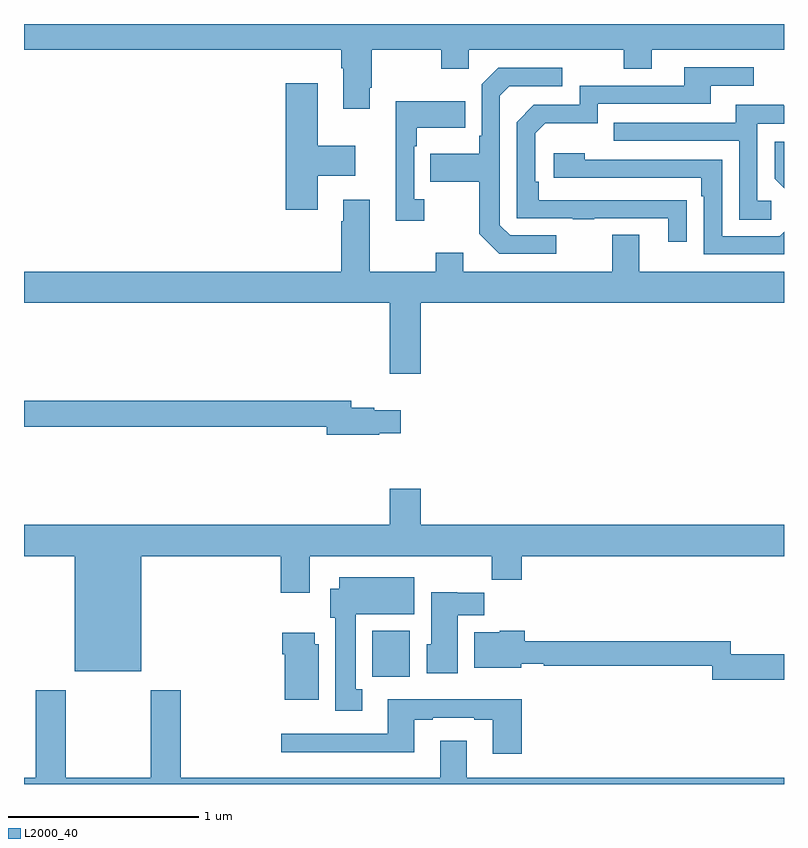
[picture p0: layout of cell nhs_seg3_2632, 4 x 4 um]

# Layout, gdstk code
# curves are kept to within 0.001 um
import gdstk
lib = gdstk.Library(unit=1e-6, precision=1e-09)
def R(c, l, rs):  # rectangles x0, y0, x1, y1
    for r in rs: c.add(gdstk.rectangle(r[:2], r[2:], *l))
def P(c, l, *ps):  # polygons
    for p in ps: c.add(gdstk.Polygon(p, *l))
L2000_40 = (2000, 40)

nhs_seg3_2632 = lib.new_cell('nhs_seg3_2632')
R(nhs_seg3_2632, L2000_40, [(248.834,682.964,249.031,683.206)])
P(nhs_seg3_2632, L2000_40, [(248.821,686.065),(248.829,686.065),(248.829,686.264),(249.196,686.264),(249.196,686.165),(249.342,686.165),(249.342,686.264),(250.156,686.264),(250.156,686.165),(250.303,686.165),(250.303,686.264),(251,686.264),(251,686.4),(247,686.4),(247,686.264),(248.669,686.264),(248.669,686.168),(248.681,686.168),(248.681,685.953),(248.821,685.953)],
  [(250.487,685.472),(249.71,685.473),(249.71,685.57),(249.69,685.57),(249.69,685.824),(249.743,685.877),(250.02,685.877),(250.02,685.98),(250.615,685.98),(250.615,686.076),(250.84,686.076),(250.84,686.172),(250.475,686.172),(250.475,686.076),(249.924,686.076),(249.924,685.974),(249.684,685.974),(249.594,685.884),(249.594,685.377),(249.889,685.377),(249.889,685.372),(250.001,685.372),(250.001,685.377),(250.391,685.377),(250.391,685.254),(250.487,685.254)],
  [(249.802,685.287),(249.558,685.287),(249.504,685.341),(249.504,686.022),(249.555,686.073),(249.832,686.073),(249.832,686.169),(249.495,686.169),(249.408,686.082),(249.408,685.813),(249.396,685.813),(249.396,685.717),(249.139,685.717),(249.139,685.57),(249.396,685.57),(249.396,685.297),(249.501,685.191),(249.802,685.191)],
  [(248.545,685.601),(248.743,685.601),(248.743,685.759),(248.545,685.759),(248.545,686.089),(248.378,686.089),(248.378,685.422),(248.545,685.422)],
  [(249.106,685.478),(249.054,685.478),(249.054,685.757),(249.067,685.757),(249.067,685.853),(249.323,685.853),(249.323,685.993),(248.957,685.993),(248.957,685.365),(249.106,685.365)],
  [(250.933,685.47),(250.86,685.47),(250.86,685.875),(251,685.875),(251,685.971),(250.999,685.971),(250.999,685.975),(250.745,685.975),(250.745,685.881),(250.105,685.881),(250.105,685.785),(250.764,685.785),(250.764,685.369),(250.933,685.369)],
  [(251,685.78),(250.95,685.78),(250.95,685.586),(251,685.536)],
  [(251,685.307),(250.977,685.284),(250.674,685.284),(250.674,685.686),(249.95,685.686),(249.95,685.72),(249.789,685.72),(249.789,685.59),(250.565,685.59),(250.565,685.493),(250.578,685.493),(250.578,685.188),(251,685.188)],
  [(249.088,684.932),(251,684.932),(251,685.096),(250.237,685.096),(250.237,685.291),(250.097,685.291),(250.097,685.096),(249.313,685.096),(249.313,685.195),(249.166,685.195),(249.166,685.096),(248.821,685.096),(248.821,685.474),(248.681,685.474),(248.681,685.361),(248.669,685.361),(248.669,685.096),(247,685.096),(247,684.932),(248.924,684.932),(248.924,684.558),(249.088,684.558)],
  [(248.87,684.245),(248.983,684.245),(248.983,684.367),(248.844,684.367),(248.844,684.38),(248.722,684.38),(248.722,684.416),(247,684.416),(247,684.28),(248.594,684.28),(248.594,684.238),(248.87,684.238)],
  [(247.618,683.6),(248.351,683.6),(248.351,683.406),(248.503,683.406),(248.503,683.6),(249.463,683.6),(249.463,683.476),(249.62,683.476),(249.62,683.6),(251,683.6),(251,683.764),(249.088,683.764),(249.088,683.953),(248.924,683.953),(248.924,683.764),(247,683.764),(247,683.6),(247.268,683.6),(247.268,682.994),(247.618,682.994)],
  [(248.779,682.898),(248.746,682.898),(248.746,683.294),(249.055,683.294),(249.055,683.488),(248.66,683.488),(248.66,683.428),(248.612,683.428),(248.612,683.274),(248.639,683.274),(248.639,682.785),(248.779,682.785)],
  [(249.283,683.288),(249.422,683.288),(249.422,683.406),(249.279,683.406),(249.279,683.41),(249.143,683.41),(249.143,683.136),(249.119,683.136),(249.119,682.982),(249.283,682.982)],
  [(251,683.084),(250.719,683.084),(250.719,683.152),(249.636,683.152),(249.636,683.206),(249.504,683.206),(249.504,683.2),(249.371,683.2),(249.371,683.012),(249.618,683.012),(249.618,683.034),(249.736,683.034),(249.736,683.023),(250.623,683.023),(250.623,682.948),(251,682.948)],
  [(248.551,683.136),(248.53,683.136),(248.53,683.197),(248.36,683.197),(248.36,683.084),(248.372,683.084),(248.372,682.844),(248.551,682.844)],
  [(251,682.432),(249.331,682.432),(249.331,682.627),(249.191,682.627),(249.191,682.432),(247.826,682.432),(247.826,682.894),(247.666,682.894),(247.666,682.432),(247.221,682.432),(247.221,682.894),(247.061,682.894),(247.061,682.432),(247,682.432),(247,682.4),(251,682.4)],
  [(249.62,682.846),(248.915,682.846),(248.915,682.665),(248.355,682.665),(248.355,682.568),(249.055,682.568),(249.055,682.737),(249.151,682.737),(249.151,682.749),(249.371,682.749),(249.371,682.737),(249.467,682.737),(249.467,682.56),(249.62,682.56)])

lib.write_gds('nhs_seg3_2632.gds')
